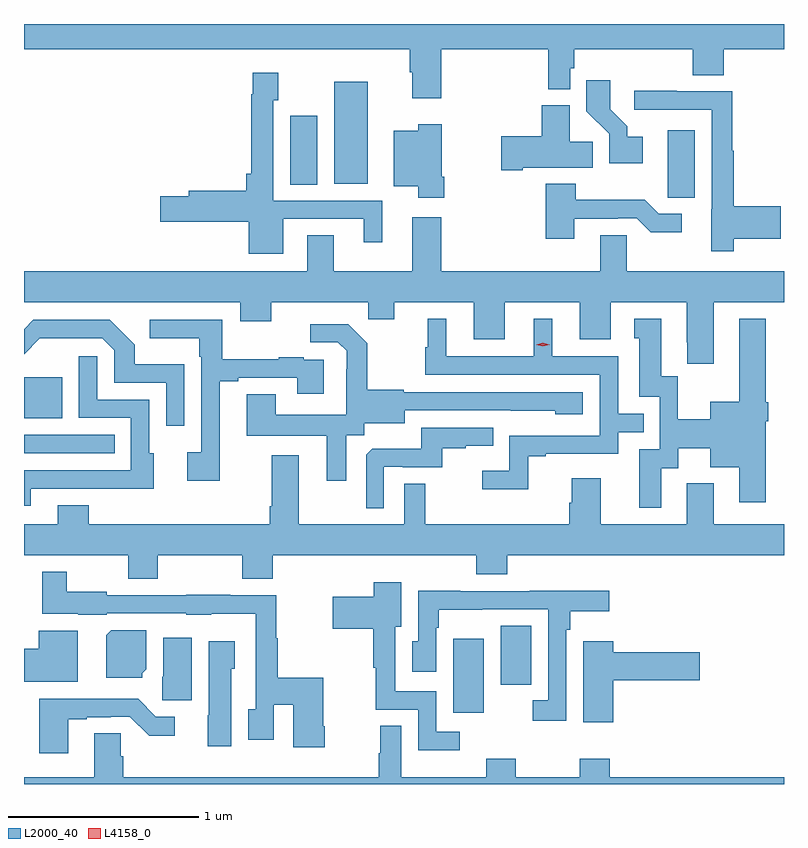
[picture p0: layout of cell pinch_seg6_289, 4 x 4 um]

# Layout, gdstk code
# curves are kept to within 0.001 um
import gdstk
lib = gdstk.Library(unit=1e-6, precision=1e-09)
def R(c, l, rs):  # rectangles x0, y0, x1, y1
    for r in rs: c.add(gdstk.rectangle(r[:2], r[2:], *l))
def P(c, l, *ps):  # polygons
    for p in ps: c.add(gdstk.Polygon(p, *l))
L2000_40 = (2000, 40)
L4158_0 = (4158, 0)

pinch_seg6_289 = lib.new_cell('pinch_seg6_289')
R(pinch_seg6_289, L2000_40, [(867.065,957.164,867.226,957.553), (867.314,957.312,867.475,957.623), (864.806,958.53,865.283,958.626), (864.806,958.715,865.006,958.93), (866.207,959.944,866.35,960.307), (866.438,959.948,866.614,960.484)])
P(pinch_seg6_289, L2000_40, [(867.002,960.656),(867.565,960.656),(867.565,960.446),(867.681,960.446),(867.681,960.555),(867.701,960.555),(867.701,960.656),(868.325,960.656),(868.325,960.52),(868.49,960.52),(868.49,960.656),(868.806,960.656),(868.806,960.789),(864.806,960.789),(864.806,960.656),(866.837,960.656),(866.837,960.536),(866.849,960.536),(866.849,960.399),(867.002,960.399)],
  [(866.17,959.763),(866.594,959.763),(866.594,959.64),(866.692,959.64),(866.692,959.859),(866.118,959.859),(866.118,960.387),(866.145,960.387),(866.145,960.532),(866.01,960.532),(866.01,960.419),(866.002,960.419),(866.002,960.001),(865.976,960.001),(865.976,959.912),(865.673,959.912),(865.673,959.882),(865.524,959.882),(865.524,959.747),(865.988,959.747),(865.988,959.579),(866.17,959.579)],
  [(868.063,960.196),(867.982,960.196),(867.982,960.251),(867.892,960.341),(867.892,960.493),(867.766,960.493),(867.766,960.33),(867.885,960.211),(867.885,960.056),(868.063,960.056)],
  [(868.541,959.66),(868.789,959.66),(868.789,959.831),(868.541,959.831),(868.541,960.123),(868.534,960.123),(868.534,960.435),(868.241,960.435),(868.241,960.438),(868.017,960.438),(868.017,960.339),(868.425,960.339),(868.425,959.814),(868.424,959.814),(868.424,959.592),(868.541,959.592)],
  [(867.43,960.032),(867.8,960.032),(867.8,960.17),(867.679,960.17),(867.679,960.361),(867.53,960.361),(867.53,960.198),(867.318,960.198),(867.318,960.02),(867.43,960.02)],
  [(867.017,959.986),(867.004,959.986),(867.004,960.262),(866.882,960.262),(866.882,960.226),(866.753,960.226),(866.753,959.936),(866.882,959.936),(866.882,959.874),(867.017,959.874)],
  [(868.336,960.229),(868.193,960.229),(868.193,959.986),(868.194,959.986),(868.194,959.875),(868.336,959.875)],
  [(867.703,959.763),(867.932,959.763),(867.932,959.766),(868.032,959.766),(868.105,959.693),(868.267,959.693),(868.267,959.79),(868.146,959.79),(868.073,959.863),(867.711,959.863),(867.711,959.947),(867.551,959.947),(867.551,959.658),(867.703,959.658)],
  [(867.978,959.678),(867.839,959.678),(867.839,959.488),(867.002,959.488),(867.002,959.773),(866.849,959.773),(866.849,959.488),(866.437,959.488),(866.437,959.678),(866.297,959.678),(866.297,959.488),(864.806,959.488),(864.806,959.324),(865.943,959.324),(865.943,959.225),(866.107,959.225),(866.107,959.324),(866.617,959.324),(866.617,959.234),(866.755,959.234),(866.755,959.324),(867.173,959.324),(867.173,959.13),(867.337,959.13),(867.337,959.324),(867.731,959.324),(867.731,959.13),(867.895,959.13),(867.895,959.324),(868.295,959.324),(868.295,959.113),(868.296,959.113),(868.296,959.001),(868.435,959.001),(868.435,959.324),(868.806,959.324),(868.806,959.488),(867.978,959.488)],
  [(868.159,958.45),(868.249,958.45),(868.249,958.556),(868.418,958.556),(868.418,958.457),(868.571,958.457),(868.571,958.272),(868.711,958.272),(868.711,958.697),(868.724,958.697),(868.724,958.797),(868.711,958.797),(868.711,959.239),(868.571,959.239),(868.571,958.801),(868.418,958.801),(868.418,958.708),(868.248,958.708),(868.248,958.935),(868.159,958.935),(868.159,959.239),(868.019,959.239),(868.019,959.136),(868.043,959.136),(868.043,958.827),(868.152,958.827),(868.152,958.551),(868.043,958.551),(868.043,958.242),(868.159,958.242)],
  [(867.459,958.515),(867.553,958.515),(867.553,958.527),(867.933,958.527),(867.933,958.641),(868.067,958.641),(868.067,958.737),(867.933,958.737),(867.933,959.04),(867.586,959.04),(867.586,959.239),(867.488,959.239),(867.488,959.04),(867.028,959.04),(867.028,959.239),(866.93,959.239),(866.93,959.088),(866.919,959.088),(866.919,958.944),(867.837,958.944),(867.837,958.623),(867.36,958.623),(867.36,958.438),(867.219,958.438),(867.219,958.34),(867.459,958.34)],
  [(865.837,958.908),(865.933,958.908),(865.933,958.926),(866.243,958.926),(866.243,958.842),(866.383,958.842),(866.383,959.022),(866.279,959.022),(866.279,959.035),(866.147,959.035),(866.147,959.024),(865.849,959.024),(865.849,959.232),(865.467,959.232),(865.467,959.135),(865.728,959.135),(865.728,959.039),(865.74,959.039),(865.74,958.534),(865.665,958.534),(865.665,958.386),(865.837,958.386)],
  [(865.65,958.999),(865.389,958.999),(865.389,959.102),(865.258,959.232),(864.855,959.232),(864.806,959.183),(864.806,959.051),(864.89,959.135),(865.218,959.136),(865.281,959.073),(865.281,958.902),(865.554,958.902),(865.554,958.674),(865.65,958.674)],
  [(866.503,958.624),(866.598,958.624),(866.598,958.688),(866.809,958.688),(866.809,958.755),(867.603,958.754),(867.603,958.736),(867.748,958.736),(867.748,958.851),(866.805,958.851),(866.805,958.864),(866.613,958.864),(866.613,959.109),(866.513,959.209),(866.313,959.209),(866.313,959.115),(866.457,959.115),(866.504,959.068),(866.504,958.973),(866.502,958.973),(866.502,958.732),(866.131,958.732),(866.131,958.841),(865.979,958.841),(865.979,958.622),(866.399,958.622),(866.399,958.386),(866.503,958.386)],
  [(864.841,958.344),(865.271,958.344),(865.271,958.343),(865.489,958.343),(865.489,958.53),(865.464,958.53),(865.464,958.812),(865.191,958.812),(865.191,959.041),(865.095,959.041),(865.095,958.716),(865.368,958.716),(865.368,958.44),(864.806,958.44),(864.806,958.254),(864.841,958.254)],
  [(866.7,958.458),(866.8,958.458),(866.8,958.455),(867.008,958.455),(867.008,958.557),(867.131,958.557),(867.131,958.568),(867.275,958.568),(867.275,958.665),(866.898,958.665),(866.898,958.553),(866.639,958.553),(866.607,958.521),(866.607,958.241),(866.7,958.241)],
  [(865.509,957.992),(865.954,957.992),(865.954,957.868),(866.114,957.868),(866.114,957.992),(867.185,957.992),(867.185,957.893),(867.35,957.893),(867.35,957.992),(868.806,957.992),(868.806,958.156),(868.435,958.156),(868.435,958.372),(868.295,958.372),(868.295,958.156),(867.841,958.156),(867.841,958.399),(867.689,958.399),(867.689,958.269),(867.677,958.269),(867.677,958.156),(866.917,958.156),(866.917,958.37),(866.808,958.37),(866.808,958.156),(866.251,958.156),(866.251,958.519),(866.111,958.519),(866.111,958.252),(866.099,958.252),(866.099,958.156),(865.147,958.156),(865.147,958.255),(864.983,958.255),(864.983,958.156),(864.806,958.156),(864.806,957.992),(865.354,957.992),(865.354,957.868),(865.509,957.868)],
  [(866.388,957.094),(866.38,957.094),(866.38,957.347),(866.141,957.347),(866.141,957.555),(866.134,957.555),(866.134,957.783),(865.891,957.783),(865.891,957.785),(865.659,957.785),(865.659,957.783),(865.242,957.783),(865.242,957.802),(865.03,957.802),(865.03,957.907),(864.901,957.907),(864.901,957.686),(865.092,957.686),(865.092,957.68),(865.242,957.68),(865.242,957.687),(865.659,957.687),(865.659,957.68),(865.791,957.68),(865.791,957.686),(866.025,957.686),(866.025,957.182),(865.985,957.182),(865.985,957.021),(866.121,957.021),(866.121,957.205),(866.222,957.205),(866.222,956.982),(866.388,956.982)],
  [(867.1,957.063),(866.976,957.063),(866.976,957.276),(866.761,957.276),(866.761,957.617),(866.791,957.617),(866.791,957.85),(866.648,957.85),(866.648,957.775),(866.43,957.775),(866.43,957.605),(866.643,957.605),(866.643,957.402),(866.658,957.402),(866.658,957.18),(866.88,957.18),(866.88,956.966),(867.1,956.966)],
  [(867.66,957.602),(867.68,957.602),(867.68,957.698),(867.886,957.698),(867.886,957.806),(867.467,957.806),(867.467,957.804),(867.101,957.804),(867.101,957.806),(866.88,957.806),(866.88,957.54),(866.849,957.54),(866.849,957.381),(866.976,957.381),(866.976,957.611),(866.989,957.611),(866.989,957.707),(867.218,957.707),(867.218,957.708),(867.564,957.708),(867.564,957.231),(867.483,957.231),(867.483,957.123),(867.66,957.123)],
  [(865.428,957.372),(865.45,957.394),(865.45,957.598),(865.264,957.598),(865.238,957.572),(865.238,957.347),(865.428,957.347)],
  [(865.09,957.596),(864.884,957.596),(864.884,957.5),(864.806,957.5),(864.806,957.326),(865.09,957.326)],
  [(865.69,957.559),(865.538,957.559),(865.538,957.354),(865.534,957.354),(865.534,957.231),(865.69,957.231)],
  [(867.908,957.335),(868.363,957.335),(868.363,957.482),(867.908,957.482),(867.908,957.541),(867.749,957.541),(867.749,957.114),(867.908,957.114)],
  [(865.897,957.396),(865.915,957.396),(865.915,957.541),(865.778,957.541),(865.778,957.15),(865.772,957.15),(865.772,956.988),(865.897,956.988)],
  [(865.039,957.129),(865.135,957.129),(865.135,957.141),(865.262,957.141),(865.262,957.144),(865.362,957.144),(865.465,957.042),(865.6,957.042),(865.6,957.144),(865.5,957.144),(865.406,957.238),(864.887,957.238),(864.887,956.952),(865.039,956.952)],
  [(868.806,956.824),(867.89,956.824),(867.89,956.923),(867.73,956.923),(867.73,956.824),(867.393,956.824),(867.393,956.923),(867.238,956.923),(867.238,956.824),(866.791,956.824),(866.791,957.095),(866.68,957.095),(866.68,956.952),(866.673,956.952),(866.673,956.824),(865.328,956.824),(865.328,956.934),(865.314,956.934),(865.314,957.056),(865.175,957.056),(865.175,956.824),(864.806,956.824),(864.806,956.789),(868.806,956.789)])
P(pinch_seg6_289, L4158_0, [(867.537,959.092),(867.501,959.102),(867.501,959.102),(867.501,959.102),(867.537,959.112),(867.573,959.102),(867.573,959.102),(867.573,959.102)])

lib.write_gds('pinch_seg6_289.gds')
